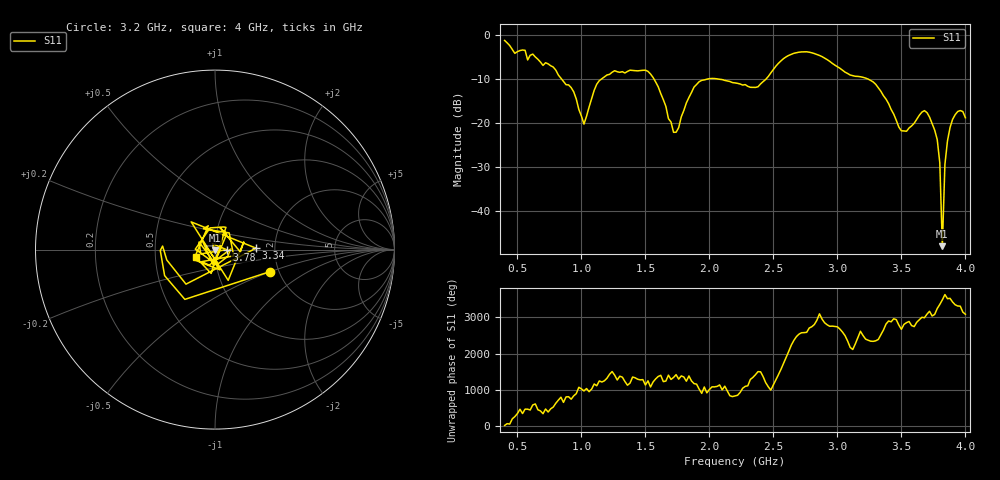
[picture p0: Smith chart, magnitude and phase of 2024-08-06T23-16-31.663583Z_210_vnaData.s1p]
!Created with skrf (http://scikit-rf.org).
# Hz S RI R 50.0
!freq ReS11 ImS11
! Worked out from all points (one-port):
!   181 points, 400 MHz to 4 GHz, reference 50 ohm
!   lowest |S11| = -48.1 dB at 3.82 GHz (marker M1), VSWR 1.01, Z = 49.8 - j0.331 ohm
!   |S11| at or under -10 dB: 1.567 GHz to 1.986 GHz (419.2 MHz wide, 23.6 % of centre); 2.069 GHz to 2.442 GHz (373.8 MHz wide, 16.6 % of centre); 3.239 GHz to end of sweep (the widest 3 of 4)
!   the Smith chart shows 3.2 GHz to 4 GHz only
!   S11 on the Smith chart (normalised r, x): 3.2 GHz: 1.80, -0.49; 3.34 GHz: 1.59, +0.03; 3.78 GHz: 1.14, -0.00; 4 GHz: 0.81, -0.07
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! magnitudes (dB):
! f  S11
! 400 MHz  -1.2
! 860 MHz  -10.5
! 940 MHz  -12.9
! 1.02 GHz  -20.3
! 1.12 GHz  -11.2
! 1.3 GHz  -8.5
! 1.52 GHz  -8.2
! 1.6 GHz  -11.8
! 1.72 GHz  -22.2
! 1.76 GHz  -21.1
! 1.92 GHz  -10.6
! 2.2 GHz  -10.9
! 2.38 GHz  -11.8
! 2.66 GHz  -4.1
! 2.86 GHz  -4.6
! 3.1 GHz  -9.1
! 3.2 GHz  -9.6
! 3.34 GHz  -12.8
! 3.5 GHz  -21.8
! 3.56 GHz  -21.2
! 3.68 GHz  -17.2
! 3.78 GHz  -23.8
! 3.8 GHz  -29.1
! 3.82 GHz  -48.1
! 3.84 GHz  -29.5
! 3.86 GHz  -24.1
! 3.92 GHz  -18.1
! 4 GHz  -18.8
